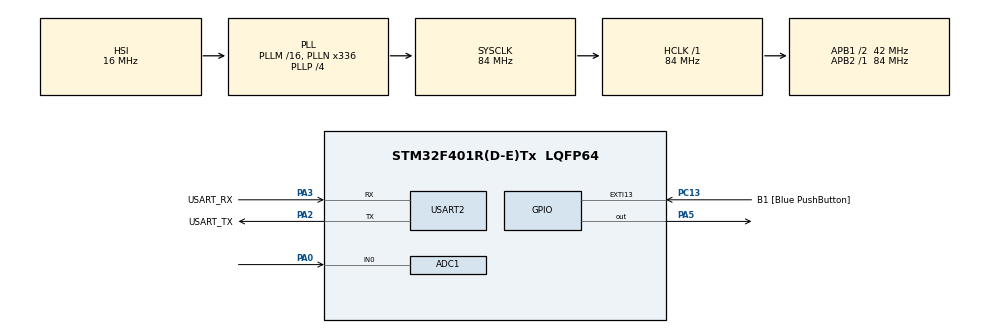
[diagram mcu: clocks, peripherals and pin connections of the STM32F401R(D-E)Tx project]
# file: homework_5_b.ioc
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ADC1.Channel-0\#ChannelRegularConversion=ADC_CHANNEL_0
ADC1.DMAContinuousRequests=ENABLE
ADC1.ExternalTrigConv=ADC_EXTERNALTRIGCONV_T2_TRGO
ADC1.NbrOfConversionFlag=1
ADC1.Rank-0\#ChannelRegularConversion=1
ADC1.SamplingTime-0\#ChannelRegularConversion=ADC_SAMPLETIME_480CYCLES
ADC1.master=1
Dma.ADC1.0.Direction=DMA_PERIPH_TO_MEMORY
Dma.ADC1.0.FIFOMode=DMA_FIFOMODE_DISABLE
Dma.ADC1.0.Instance=DMA2_Stream0
Dma.ADC1.0.MemDataAlignment=DMA_MDATAALIGN_HALFWORD
Dma.ADC1.0.MemInc=DMA_MINC_ENABLE
Dma.ADC1.0.Mode=DMA_CIRCULAR
Dma.ADC1.0.PeriphDataAlignment=DMA_PDATAALIGN_HALFWORD
Dma.ADC1.0.PeriphInc=DMA_PINC_DISABLE
Dma.ADC1.0.Priority=DMA_PRIORITY_LOW
Dma.Request0=ADC1
Mcu.Family=STM32F4
Mcu.Name=STM32F401R(D-E)Tx
Mcu.Package=LQFP64
NVIC.ADC_IRQn=true\:0\:0\:false\:false\:true\:true\:true\:true
NVIC.DMA2_Stream0_IRQn=true\:0\:0\:false\:false\:true\:false\:true\:true
NVIC.PriorityGroup=NVIC_PRIORITYGROUP_0
PA0-WKUP.Signal=SharedAnalog_PA0
PA13.GPIO_Label=TMS
PA13.Mode=Serial_Wire
PA13.Signal=SYS_JTMS-SWDIO
PA14.GPIO_Label=TCK
PA14.Mode=Serial_Wire
PA14.Signal=SYS_JTCK-SWCLK
PA2.GPIO_Label=USART_TX
PA2.GPIO_Mode=GPIO_MODE_AF_PP
PA2.GPIO_PuPd=GPIO_NOPULL
PA2.GPIO_Speed=GPIO_SPEED_FREQ_LOW
PA2.Mode=Asynchronous
PA2.Signal=USART2_TX
PA3.GPIO_Label=USART_RX
PA3.GPIO_Mode=GPIO_MODE_AF_PP
PA3.GPIO_PuPd=GPIO_NOPULL
PA3.GPIO_Speed=GPIO_SPEED_FREQ_LOW
PA3.Mode=Asynchronous
PA3.Signal=USART2_RX
PA5.Signal=GPIO_Output
PB3.GPIO_Label=SWO
PB3.Signal=SYS_JTDO-SWO
PC13-ANTI_TAMP.GPIO_Label=B1 [Blue PushButton]
PC13-ANTI_TAMP.GPIO_ModeDefaultEXTI=GPIO_MODE_IT_FALLING
PC13-ANTI_TAMP.GPIO_PuPd=GPIO_NOPULL
PC13-ANTI_TAMP.Signal=GPXTI13
PC14-OSC32_IN.Mode=LSE-External-Oscillator
PC14-OSC32_IN.Signal=RCC_OSC32_IN
PC15-OSC32_OUT.Mode=LSE-External-Oscillator
PC15-OSC32_OUT.Signal=RCC_OSC32_OUT
PH0\ -\ OSC_IN.Mode=HSE-External-Clock-Source
PH0\ -\ OSC_IN.Signal=RCC_OSC_IN
PH1\ -\ OSC_OUT.Mode=HSE-External-Clock-Source
PH1\ -\ OSC_OUT.Signal=RCC_OSC_OUT
ProjectManager.HeapSize=0x200
ProjectManager.StackSize=0x400
ProjectManager.TargetToolchain=STM32CubeIDE
RCC.48MHZClocksFreq_Value=48000000
RCC.AHBFreq_Value=84000000
RCC.APB1CLKDivider=RCC_HCLK_DIV2
RCC.APB1Freq_Value=42000000
RCC.APB1TimFreq_Value=84000000
RCC.APB2Freq_Value=84000000
RCC.APB2TimFreq_Value=84000000
RCC.CortexFreq_Value=84000000
RCC.HCLKFreq_Value=84000000
RCC.HSE_VALUE=8000000
RCC.HSI_VALUE=16000000
RCC.PLLN=336
RCC.PLLP=RCC_PLLP_DIV4
RCC.PLLQ=7
RCC.SYSCLKFreq_VALUE=84000000
RCC.SYSCLKSource=RCC_SYSCLKSOURCE_PLLCLK
RCC.VCOOutputFreq_Value=336000000
SH.SharedAnalog_PA0.0=GPIO_Analog
SH.SharedAnalog_PA0.1=ADC1_IN0,IN0
TIM2.Period=84000-1
TIM2.TIM_MasterOutputTrigger=TIM_TRGO_UPDATE
USART2.VirtualMode=VM_ASYNC
VP_TIM2_VS_ClockSourceINT.Mode=Internal
board=NUCLEO-F401RE

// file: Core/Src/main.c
/* USER CODE BEGIN Header */
/**
  ******************************************************************************
  * @file           : main.c
  * @brief          : Main program body
  ******************************************************************************
  * @attention
  *
  * Copyright (c) 2022 STMicroelectronics.
  * All rights reserved.
  *
  * This software is licensed under terms that can be found in the LICENSE file
  * in the root directory of this software component.
  * If no LICENSE file comes with this software, it is provided AS-IS.
  *
  ******************************************************************************
  */
/* USER CODE END Header */
#include "main.h"

/* USER CODE BEGIN Includes */
#include "math.h"
/* USER CODE END Includes */

ADC_HandleTypeDef hadc1;
DMA_HandleTypeDef hdma_adc1;

TIM_HandleTypeDef htim2;

UART_HandleTypeDef huart2;

/* USER CODE BEGIN PV */
uint16_t ADC_results_array[1000];
/* USER CODE END PV */

void SystemClock_Config(void);
static void MX_GPIO_Init(void);
static void MX_DMA_Init(void);
static void MX_USART2_UART_Init(void);
static void MX_ADC1_Init(void);
static void MX_TIM2_Init(void);

/* USER CODE BEGIN 0 */
void HAL_ADC_ConvCpltCallback(ADC_HandleTypeDef* calling_adc){            //called after 1000 conversions, one every 1ms
  float Vldr;
  float LDR;
  float LDR_sum;
  float LDR_mean;
  float LUX;
  char output_string[64];
  if(calling_adc==&hadc1){
    LDR_sum=0.0;
    for(int i=0; i<1000; i++){                                            //ADC_results_array € [0, 4095]
      Vldr=(ADC_results_array[i]*3.3)/4096.0;                             //Vldr € [0, 3.299]
      LDR=(Vldr*100000.0)/(3.3-Vldr);                                     //LDR € [0, 409500000]
      LDR_sum=LDR_sum+LDR;                                                //LDR_sum € [0, 409500000000]
    }
    LDR_mean=LDR_sum/1000.0;                                              //LDR_mean € [0, 409500000]
    LUX=10.0*pow((100000.0/LDR_mean), 1.25);                              //LUX € [0.000305, +inf]
    snprintf(output_string, sizeof(output_string), "LDR: %.3f Ohm\r\nLUX: %.3f lux\r\n\r\n", LDR_mean, LUX);
    HAL_UART_Transmit(&huart2, output_string, strlen(output_string), 200);
  }
}
/* USER CODE END 0 */

int main(void)
{

  /* MCU Configuration--------------------------------------------------------*/

  /* Reset of all peripherals, Initializes the Flash interface and the Systick. */
  HAL_Init();

  /* Configure the system clock */
  SystemClock_Config();

  /* Initialize all configured peripherals */
  MX_GPIO_Init();
  MX_DMA_Init();
  MX_USART2_UART_Init();
  MX_ADC1_Init();
  MX_TIM2_Init();
  /* USER CODE BEGIN 2 */
  HAL_ADC_Start_DMA(&hadc1, ADC_results_array, sizeof(ADC_results_array)/sizeof(ADC_results_array[0]));
  HAL_TIM_Base_Start(&htim2);
  /* USER CODE END 2 */

  /* Infinite loop */
  while (1)
  {

  }
}

void SystemClock_Config(void)
{
  RCC_OscInitTypeDef RCC_OscInitStruct = {0};
  RCC_ClkInitTypeDef RCC_ClkInitStruct = {0};

  /** Configure the main internal regulator output voltage
  */
  __HAL_RCC_PWR_CLK_ENABLE();
  __HAL_PWR_VOLTAGESCALING_CONFIG(PWR_REGULATOR_VOLTAGE_SCALE2);

  /** Initializes the RCC Oscillators according to the specified parameters
  * in the RCC_OscInitTypeDef structure.
  */
  RCC_OscInitStruct.OscillatorType = RCC_OSCILLATORTYPE_HSI;
  RCC_OscInitStruct.HSIState = RCC_HSI_ON;
  RCC_OscInitStruct.HSICalibrationValue = RCC_HSICALIBRATION_DEFAULT;
  RCC_OscInitStruct.PLL.PLLState = RCC_PLL_ON;
  RCC_OscInitStruct.PLL.PLLSource = RCC_PLLSOURCE_HSI;
  RCC_OscInitStruct.PLL.PLLM = 16;
  RCC_OscInitStruct.PLL.PLLN = 336;
  RCC_OscInitStruct.PLL.PLLP = RCC_PLLP_DIV4;
  RCC_OscInitStruct.PLL.PLLQ = 7;
  if (HAL_RCC_OscConfig(&RCC_OscInitStruct) != HAL_OK)
  {
    Error_Handler();
  }

  /** Initializes the CPU, AHB and APB buses clocks
  */
  RCC_ClkInitStruct.ClockType = RCC_CLOCKTYPE_HCLK|RCC_CLOCKTYPE_SYSCLK
                              |RCC_CLOCKTYPE_PCLK1|RCC_CLOCKTYPE_PCLK2;
  RCC_ClkInitStruct.SYSCLKSource = RCC_SYSCLKSOURCE_PLLCLK;
  RCC_ClkInitStruct.AHBCLKDivider = RCC_SYSCLK_DIV1;
  RCC_ClkInitStruct.APB1CLKDivider = RCC_HCLK_DIV2;
  RCC_ClkInitStruct.APB2CLKDivider = RCC_HCLK_DIV1;

  if (HAL_RCC_ClockConfig(&RCC_ClkInitStruct, FLASH_LATENCY_2) != HAL_OK)
  {
    Error_Handler();
  }
}

static void MX_ADC1_Init(void)
{

  ADC_ChannelConfTypeDef sConfig = {0};

  /** Configure the global features of the ADC (Clock, Resolution, Data Alignment and number of conversion)
  */
  hadc1.Instance = ADC1;
  hadc1.Init.ClockPrescaler = ADC_CLOCK_SYNC_PCLK_DIV4;
  hadc1.Init.Resolution = ADC_RESOLUTION_12B;
  hadc1.Init.ScanConvMode = DISABLE;
  hadc1.Init.ContinuousConvMode = DISABLE;
  hadc1.Init.DiscontinuousConvMode = DISABLE;
  hadc1.Init.ExternalTrigConvEdge = ADC_EXTERNALTRIGCONVEDGE_RISING;
  hadc1.Init.ExternalTrigConv = ADC_EXTERNALTRIGCONV_T2_TRGO;
  hadc1.Init.DataAlign = ADC_DATAALIGN_RIGHT;
  hadc1.Init.NbrOfConversion = 1;
  hadc1.Init.DMAContinuousRequests = ENABLE;
  hadc1.Init.EOCSelection = ADC_EOC_SINGLE_CONV;
  if (HAL_ADC_Init(&hadc1) != HAL_OK)
  {
    Error_Handler();
  }

  /** Configure for the selected ADC regular channel its corresponding rank in the sequencer and its sample time.
  */
  sConfig.Channel = ADC_CHANNEL_0;
  sConfig.Rank = 1;
  sConfig.SamplingTime = ADC_SAMPLETIME_480CYCLES;
  if (HAL_ADC_ConfigChannel(&hadc1, &sConfig) != HAL_OK)
  {
    Error_Handler();
  }

}

static void MX_TIM2_Init(void)
{

  TIM_ClockConfigTypeDef sClockSourceConfig = {0};
  TIM_MasterConfigTypeDef sMasterConfig = {0};

  htim2.Instance = TIM2;
  htim2.Init.Prescaler = 0;
  htim2.Init.CounterMode = TIM_COUNTERMODE_UP;
  htim2.Init.Period = 84000-1;
  htim2.Init.ClockDivision = TIM_CLOCKDIVISION_DIV1;
  htim2.Init.AutoReloadPreload = TIM_AUTORELOAD_PRELOAD_DISABLE;
  if (HAL_TIM_Base_Init(&htim2) != HAL_OK)
  {
    Error_Handler();
  }
  sClockSourceConfig.ClockSource = TIM_CLOCKSOURCE_INTERNAL;
  if (HAL_TIM_ConfigClockSource(&htim2, &sClockSourceConfig) != HAL_OK)
  {
    Error_Handler();
  }
  sMasterConfig.MasterOutputTrigger = TIM_TRGO_UPDATE;
  sMasterConfig.MasterSlaveMode = TIM_MASTERSLAVEMODE_DISABLE;
  if (HAL_TIMEx_MasterConfigSynchronization(&htim2, &sMasterConfig) != HAL_OK)
  {
    Error_Handler();
  }

}

static void MX_USART2_UART_Init(void)
{

  huart2.Instance = USART2;
  huart2.Init.BaudRate = 115200;
  huart2.Init.WordLength = UART_WORDLENGTH_8B;
  huart2.Init.StopBits = UART_STOPBITS_1;
  huart2.Init.Parity = UART_PARITY_NONE;
  huart2.Init.Mode = UART_MODE_TX_RX;
  huart2.Init.HwFlowCtl = UART_HWCONTROL_NONE;
  huart2.Init.OverSampling = UART_OVERSAMPLING_16;
  if (HAL_UART_Init(&huart2) != HAL_OK)
  {
    Error_Handler();
  }

}

static void MX_DMA_Init(void)
{

  /* DMA controller clock enable */
  __HAL_RCC_DMA2_CLK_ENABLE();

  /* DMA interrupt init */
  /* DMA2_Stream0_IRQn interrupt configuration */
  HAL_NVIC_SetPriority(DMA2_Stream0_IRQn, 0, 0);
  HAL_NVIC_EnableIRQ(DMA2_Stream0_IRQn);

}

static void MX_GPIO_Init(void)
{
  GPIO_InitTypeDef GPIO_InitStruct = {0};

  /* GPIO Ports Clock Enable */
  __HAL_RCC_GPIOC_CLK_ENABLE();
  __HAL_RCC_GPIOH_CLK_ENABLE();
  __HAL_RCC_GPIOA_CLK_ENABLE();
  __HAL_RCC_GPIOB_CLK_ENABLE();

  /*Configure GPIO pin Output Level */
  HAL_GPIO_WritePin(GPIOA, GPIO_PIN_5, GPIO_PIN_RESET);

  /*Configure GPIO pin : B1_Pin */
  GPIO_InitStruct.Pin = B1_Pin;
  GPIO_InitStruct.Mode = GPIO_MODE_IT_FALLING;
  GPIO_InitStruct.Pull = GPIO_NOPULL;
  HAL_GPIO_Init(B1_GPIO_Port, &GPIO_InitStruct);

  /*Configure GPIO pin : PA5 */
  GPIO_InitStruct.Pin = GPIO_PIN_5;
  GPIO_InitStruct.Mode = GPIO_MODE_OUTPUT_PP;
  GPIO_InitStruct.Pull = GPIO_NOPULL;
  GPIO_InitStruct.Speed = GPIO_SPEED_FREQ_LOW;
  HAL_GPIO_Init(GPIOA, &GPIO_InitStruct);

}

void Error_Handler(void)
{
  __disable_irq();
  while (1)
  {
  }
}
